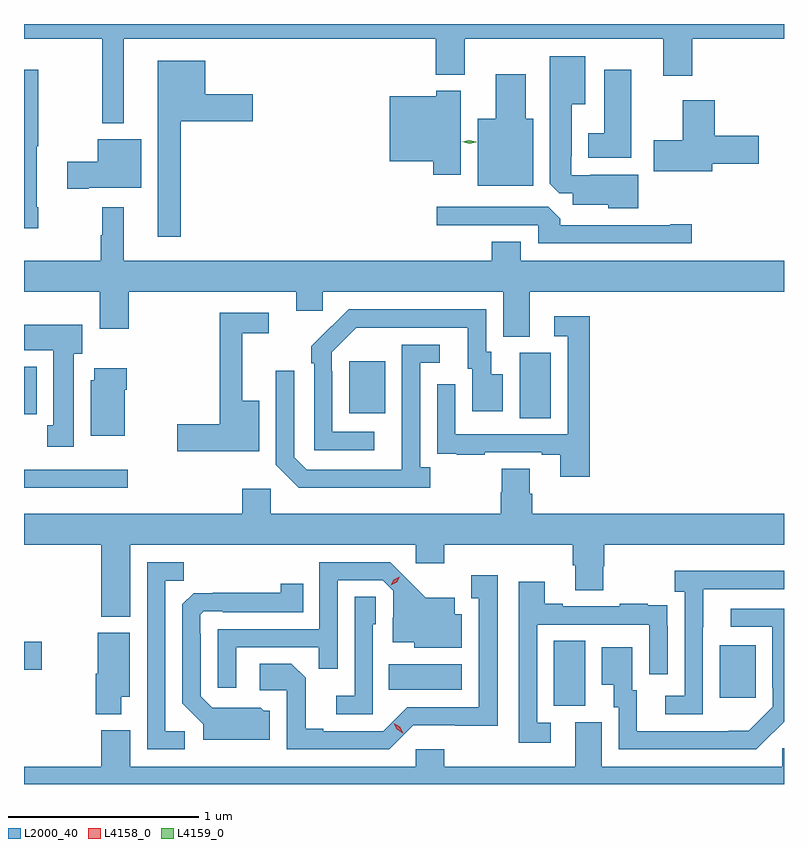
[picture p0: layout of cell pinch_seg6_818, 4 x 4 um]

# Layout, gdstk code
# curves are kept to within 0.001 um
import gdstk
lib = gdstk.Library(unit=1e-6, precision=1e-09)
def R(c, l, rs):  # rectangles x0, y0, x1, y1
    for r in rs: c.add(gdstk.rectangle(r[:2], r[2:], *l))
def P(c, l, *ps):  # polygons
    for p in ps: c.add(gdstk.Polygon(p, *l))
L2000_40 = (2000, 40)
L4158_0 = (4158, 0)
L4159_0 = (4159, 0)

pinch_seg6_818 = lib.new_cell('pinch_seg6_818')
R(pinch_seg6_818, L2000_40, [(161.324,979.789,161.488,980.132), (162.197,979.833,162.385,980.107), (160.456,979.874,160.84,980.008), (158.535,979.979,158.629,980.126), (158.535,980.936,159.082,981.033), (161.144,981.304,161.308,981.648), (158.535,981.324,158.601,981.574), (160.247,981.329,160.435,981.604)])
P(pinch_seg6_818, L2000_40, [(162.535,983.378),(158.535,983.378),(158.535,983.3),(158.947,983.3),(158.947,982.856),(159.061,982.856),(159.061,983.3),(160.703,983.3),(160.703,983.111),(160.855,983.111),(160.855,983.3),(161.9,983.3),(161.9,983.106),(162.053,983.106),(162.053,983.3),(162.535,983.3)],
  [(161.767,982.585),(161.515,982.585),(161.515,982.581),(161.415,982.581),(161.415,982.681),(161.419,982.681),(161.419,982.955),(161.488,982.955),(161.488,983.209),(161.303,983.209),(161.303,982.537),(161.352,982.488),(161.423,982.488),(161.423,982.427),(161.61,982.427),(161.61,982.409),(161.767,982.409)],
  [(159.361,982.865),(159.739,982.865),(159.739,983.007),(159.49,983.007),(159.49,983.185),(159.239,983.185),(159.239,982.257),(159.361,982.257)],
  [(161.731,983.137),(161.588,983.137),(161.588,982.804),(161.504,982.804),(161.504,982.673),(161.731,982.673)],
  [(158.61,982.414),(158.602,982.414),(158.602,982.735),(158.61,982.735),(158.61,983.137),(158.535,983.137),(158.535,982.302),(158.61,982.302)],
  [(161.215,982.879),(161.176,982.879),(161.176,983.113),(161.018,983.113),(161.018,982.879),(160.922,982.879),(160.922,982.526),(161.215,982.526)],
  [(160.834,983.026),(160.704,983.026),(160.704,982.999),(160.46,982.999),(160.46,982.655),(160.688,982.655),(160.688,982.584),(160.834,982.584)],
  [(162.157,982.643),(162.403,982.643),(162.403,982.79),(162.17,982.79),(162.17,982.978),(162.002,982.978),(162.002,982.767),(161.85,982.767),(161.85,982.604),(162.157,982.604)],
  [(158.875,982.517),(159.151,982.517),(159.151,982.771),(158.924,982.771),(158.924,982.652),(158.763,982.652),(158.763,982.51),(158.875,982.51)],
  [(162.049,982.325),(161.936,982.325),(161.936,982.32),(161.357,982.32),(161.357,982.354),(161.295,982.416),(160.707,982.416),(160.707,982.32),(161.241,982.32),(161.241,982.224),(162.049,982.224)],
  [(159.061,982.414),(158.947,982.414),(158.947,982.265),(158.94,982.265),(158.94,982.132),(158.535,982.132),(158.535,981.968),(158.933,981.968),(158.933,981.774),(159.086,981.774),(159.086,981.968),(159.968,981.968),(159.968,981.87),(160.107,981.87),(160.107,981.968),(161.057,981.968),(161.057,981.733),(161.197,981.733),(161.197,981.968),(162.535,981.968),(162.535,982.132),(161.149,982.132),(161.149,982.231),(160.997,982.231),(160.997,982.132),(159.061,982.132)],
  [(160.378,981.231),(160.158,981.231),(160.158,981.551),(160.155,981.551),(160.155,981.651),(160.284,981.78),(160.871,981.78),(160.871,981.564),(160.895,981.564),(160.895,981.339),(161.056,981.339),(161.056,981.535),(160.993,981.535),(160.993,981.654),(160.968,981.654),(160.968,981.876),(160.244,981.876),(160.047,981.681),(160.047,981.593),(160.062,981.593),(160.062,981.135),(160.378,981.135)],
  [(159.772,981.394),(159.683,981.394),(159.683,981.75),(159.823,981.75),(159.823,981.858),(159.565,981.858),(159.565,981.272),(159.342,981.272),(159.342,981.13),(159.772,981.13)],
  [(161.513,981.841),(161.325,981.841),(161.325,981.735),(161.397,981.735),(161.397,981.219),(160.806,981.219),(160.806,981.481),(160.71,981.481),(160.71,981.226),(160.711,981.226),(160.711,981.117),(160.813,981.117),(160.813,981.111),(160.961,981.111),(160.961,981.123),(161.261,981.123),(161.261,981.111),(161.357,981.111),(161.357,980.994),(161.513,980.994)],
  [(158.797,981.642),(158.842,981.642),(158.842,981.796),(158.535,981.796),(158.535,981.662),(158.69,981.662),(158.69,981.265),(158.657,981.265),(158.657,981.153),(158.797,981.153)],
  [(160.672,981.046),(160.62,981.046),(160.62,981.594),(160.723,981.594),(160.723,981.69),(160.524,981.69),(160.523,981.033),(160.023,981.033),(159.957,981.099),(159.957,981.553),(159.861,981.553),(159.861,981.057),(159.982,980.936),(160.672,980.936)],
  [(159.064,981.452),(159.077,981.452),(159.077,981.565),(158.906,981.565),(158.906,981.504),(158.885,981.504),(158.885,981.212),(159.064,981.212)],
  [(159.094,980.636),(160.596,980.636),(160.596,980.541),(160.748,980.541),(160.748,980.636),(161.423,980.636),(161.423,980.53),(161.435,980.53),(161.435,980.398),(161.583,980.398),(161.583,980.523),(161.588,980.523),(161.588,980.636),(162.535,980.636),(162.535,980.8),(161.21,980.8),(161.21,980.906),(161.197,980.906),(161.197,981.038),(161.05,981.038),(161.05,980.913),(161.045,980.913),(161.045,980.8),(159.834,980.8),(159.834,980.932),(159.683,980.932),(159.683,980.8),(158.535,980.8),(158.535,980.636),(158.942,980.636),(158.942,980.258),(159.094,980.258)],
  [(159.651,980.097),(160.087,980.097),(160.087,979.984),(160.185,979.984),(160.185,980.451),(160.422,980.451),(160.479,980.394),(160.479,980.252),(160.475,980.252),(160.475,980.123),(160.59,980.123),(160.59,980.096),(160.84,980.096),(160.84,980.272),(160.801,980.272),(160.801,980.359),(160.649,980.359),(160.462,980.544),(160.089,980.544),(160.089,980.193),(159.555,980.193),(159.555,979.884),(159.651,979.884)],
  [(159.382,979.656),(159.279,979.656),(159.279,980.449),(159.375,980.449),(159.375,980.544),(159.183,980.544),(159.183,979.56),(159.382,979.56)],
  [(162.108,980.203),(162.109,980.203),(162.109,980.403),(162.535,980.403),(162.535,980.5),(161.961,980.5),(161.961,980.39),(162.012,980.39),(162.012,979.842),(161.91,979.842),(161.91,979.746),(162.108,979.746)],
  [(160.584,979.686),(161.029,979.685),(161.029,980.476),(160.889,980.476),(160.889,980.355),(160.928,980.355),(160.928,979.782),(160.551,979.782),(160.425,979.656),(160.111,979.656),(160.111,979.669),(160.017,979.669),(160.017,979.936),(159.941,980.012),(159.777,980.012),(159.777,979.872),(159.918,979.872),(159.918,979.56),(160.458,979.56)],
  [(161.308,979.701),(161.235,979.701),(161.235,980.217),(161.826,980.217),(161.826,979.956),(161.922,979.956),(161.922,980.21),(161.921,980.21),(161.921,980.319),(161.819,980.319),(161.819,980.326),(161.671,980.326),(161.671,980.313),(161.371,980.313),(161.371,980.326),(161.275,980.326),(161.275,980.443),(161.139,980.443),(161.139,979.596),(161.308,979.596)],
  [(159.829,979.764),(159.798,979.764),(159.782,979.78),(159.525,979.779),(159.465,979.839),(159.465,980.168),(159.462,980.168),(159.462,980.268),(159.48,980.286),(159.58,980.286),(159.58,980.283),(160.004,980.283),(160.004,980.431),(159.886,980.431),(159.886,980.384),(159.428,980.383),(159.369,980.324),(159.369,979.802),(159.479,979.692),(159.479,979.61),(159.829,979.61)],
  [(160.371,980.22),(160.386,980.22),(160.386,980.363),(160.275,980.363),(160.275,979.843),(160.179,979.843),(160.179,979.746),(160.371,979.746)],
  [(162.479,979.651),(162.48,979.65),(162.535,979.705),(162.535,980.301),(162.255,980.301),(162.255,980.205),(162.474,980.205),(162.474,979.885),(162.477,979.885),(162.477,979.785),(162.349,979.657),(161.761,979.656),(161.761,979.872),(161.737,979.872),(161.737,980.098),(161.576,980.098),(161.576,979.901),(161.639,979.901),(161.639,979.782),(161.664,979.782),(161.664,979.56),(162.388,979.56)],
  [(159.046,979.838),(159.091,979.838),(159.091,980.173),(158.924,980.173),(158.924,979.959),(158.912,979.959),(158.912,979.745),(159.046,979.745)],
  [(162.535,979.566),(162.525,979.566),(162.525,979.468),(161.575,979.468),(161.575,979.704),(161.435,979.704),(161.435,979.468),(160.748,979.468),(160.748,979.561),(160.596,979.561),(160.596,979.468),(159.094,979.468),(159.094,979.66),(158.942,979.66),(158.942,979.468),(158.535,979.468),(158.535,979.378),(162.535,979.378)])
P(pinch_seg6_818, L4158_0, [(160.529,979.646),(160.498,979.665),(160.48,979.698),(160.48,979.698),(160.48,979.698),(160.512,979.679),(160.53,979.646),(160.53,979.646)],
  [(160.464,980.424),(160.464,980.424),(160.482,980.454),(160.513,980.47),(160.513,980.47),(160.513,980.47),(160.496,980.44),(160.464,980.424)])
P(pinch_seg6_818, L4159_0, [(160.878,982.747),(160.842,982.758),(160.841,982.758),(160.842,982.758),(160.878,982.767),(160.914,982.757),(160.914,982.757),(160.914,982.756)])

lib.write_gds('pinch_seg6_818.gds')
